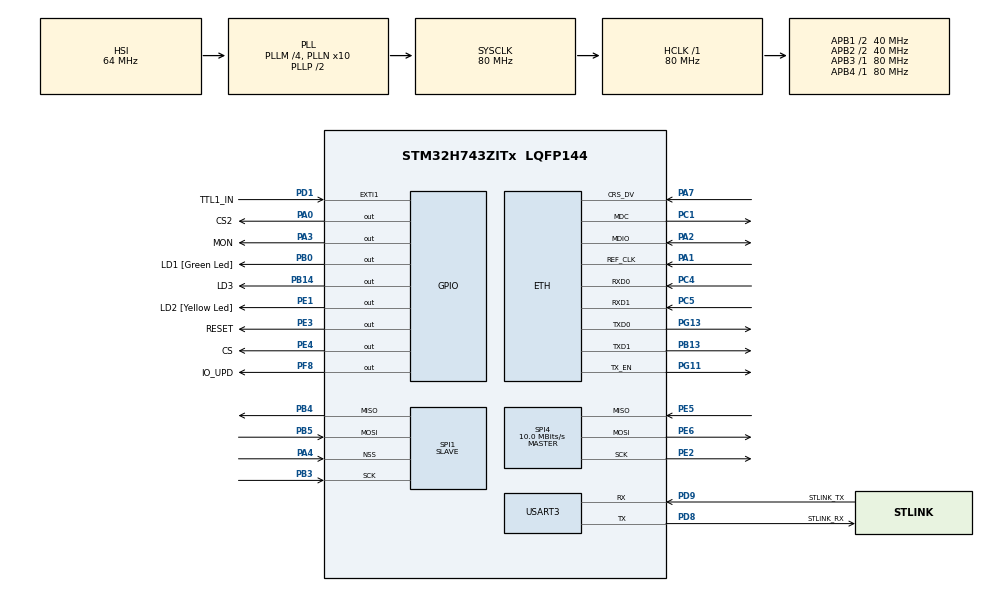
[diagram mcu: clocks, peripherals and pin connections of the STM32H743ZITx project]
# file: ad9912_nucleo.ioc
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CORTEX_M7.AccessPermission-Cortex_Memory_Protection_Unit_Region0_Settings=MPU_REGION_FULL_ACCESS
CORTEX_M7.AccessPermission-Cortex_Memory_Protection_Unit_Region1_Settings=MPU_REGION_FULL_ACCESS
CORTEX_M7.BaseAddress-Cortex_Memory_Protection_Unit_Region0_Settings=0x30040000
CORTEX_M7.BaseAddress-Cortex_Memory_Protection_Unit_Region1_Settings=0x30044000
CORTEX_M7.CPU_DCache=Enabled
CORTEX_M7.CPU_ICache=Enabled
CORTEX_M7.Enable-Cortex_Memory_Protection_Unit_Region0_Settings=MPU_REGION_ENABLE
CORTEX_M7.Enable-Cortex_Memory_Protection_Unit_Region1_Settings=MPU_REGION_ENABLE
CORTEX_M7.IsBufferable-Cortex_Memory_Protection_Unit_Region0_Settings=MPU_ACCESS_BUFFERABLE
CORTEX_M7.IsShareable-Cortex_Memory_Protection_Unit_Region1_Settings=MPU_ACCESS_SHAREABLE
CORTEX_M7.MPU_Control=MPU_PRIVILEGED_DEFAULT
CORTEX_M7.Size-Cortex_Memory_Protection_Unit_Region0_Settings=MPU_REGION_SIZE_256B
CORTEX_M7.Size-Cortex_Memory_Protection_Unit_Region1_Settings=MPU_REGION_SIZE_16KB
CORTEX_M7.TypeExtField-Cortex_Memory_Protection_Unit_Region1_Settings=MPU_TEX_LEVEL1
ETH.MACAddr=02\:00\:00\:03\:01\:08
ETH.MediaInterface=HAL_ETH_RMII_MODE
ETH.RxBuffAddress=0x30040200
LWIP.BSP.number=1
LWIP.GATEWAY_ADDRESS=000.000.000.000
LWIP.IP_ADDRESS=192.168.003.019
LWIP.LWIP_DHCP=1
LWIP.NETMASK_ADDRESS=255.255.255.000
LWIP.Version=v2.1.2_Cube
LWIP0.BSP.STBoard=false
LWIP0.BSP.api=BSP_COMPONENT_DRIVER
LWIP0.BSP.component=LAN8742
LWIP0.BSP.instance=LAN8742
LWIP0.BSP.name=Driver_PHY
LWIP0.BSP.solution=LAN8742
Mcu.Family=STM32H7
Mcu.Name=STM32H743ZITx
Mcu.Package=LQFP144
NVIC.ETH_IRQn=true\:5\:0\:true\:false\:true\:true\:true\:true
NVIC.EXTI1_IRQn=true\:1\:0\:true\:false\:true\:true\:true\:true
NVIC.PriorityGroup=NVIC_PRIORITYGROUP_4
NVIC.SPI1_IRQn=true\:0\:0\:false\:false\:true\:true\:true\:true
NVIC.TIM6_DAC_IRQn=true\:15\:0\:false\:false\:true\:false\:true\:true
NVIC.TIM7_IRQn=true\:0\:0\:false\:false\:true\:true\:true\:true
NVIC.TimeBase=TIM6_DAC_IRQn
NVIC.TimeBaseIP=TIM6
PA0.GPIO_Label=CS2
PA0.PinState=GPIO_PIN_SET
PA0.Signal=GPIO_Output
PA1.GPIO_Speed=GPIO_SPEED_FREQ_HIGH
PA1.Mode=RMII
PA1.Signal=ETH_REF_CLK
PA2.GPIO_Speed=GPIO_SPEED_FREQ_HIGH
PA2.Mode=RMII
PA2.Signal=ETH_MDIO
PA3.GPIO_Label=MON
PA3.Signal=GPIO_Output
PA4.GPIO_PuPd=GPIO_PULLUP
PA4.Mode=NSS_Signal_Hard_Input
PA4.Signal=SPI1_NSS
PA7.GPIO_Speed=GPIO_SPEED_FREQ_HIGH
PA7.Mode=RMII
PA7.Signal=ETH_CRS_DV
PB0.GPIO_Label=LD1 [Green Led]
PB0.GPIO_Speed=GPIO_SPEED_FREQ_VERY_HIGH
PB0.Signal=GPIO_Output
PB13.GPIO_Speed=GPIO_SPEED_FREQ_HIGH
PB13.Mode=RMII
PB13.Signal=ETH_TXD1
PB14.GPIO_Label=LD3
PB14.GPIO_Speed=GPIO_SPEED_FREQ_VERY_HIGH
PB14.Signal=GPIO_Output
PB3\ (JTDO/TRACESWO).Mode=Full_Duplex_Slave
PB3\ (JTDO/TRACESWO).Signal=SPI1_SCK
PB4\ (NJTRST).Mode=Full_Duplex_Slave
PB4\ (NJTRST).Signal=SPI1_MISO
PB5.Mode=Full_Duplex_Slave
PB5.Signal=SPI1_MOSI
PC1.GPIO_Speed=GPIO_SPEED_FREQ_HIGH
PC1.Mode=RMII
PC1.Signal=ETH_MDC
PC4.GPIO_Speed=GPIO_SPEED_FREQ_HIGH
PC4.Mode=RMII
PC4.Signal=ETH_RXD0
PC5.GPIO_Speed=GPIO_SPEED_FREQ_HIGH
PC5.Mode=RMII
PC5.Signal=ETH_RXD1
PD1.GPIO_Label=TTL1_IN
PD1.GPIO_ModeDefaultEXTI=GPIO_MODE_IT_FALLING
PD1.Signal=GPXTI1
PD8.GPIO_Label=STLINK_RX
PD8.GPIO_Speed=GPIO_SPEED_FREQ_HIGH
PD8.Mode=Asynchronous
PD8.Signal=USART3_TX
PD9.GPIO_Label=STLINK_TX
PD9.GPIO_Speed=GPIO_SPEED_FREQ_HIGH
PD9.Mode=Asynchronous
PD9.Signal=USART3_RX
PE1.GPIO_Label=LD2 [Yellow Led]
PE1.GPIO_Speed=GPIO_SPEED_FREQ_VERY_HIGH
PE1.Signal=GPIO_Output
PE2.Mode=Full_Duplex_Master
PE2.Signal=SPI4_SCK
PE3.GPIO_Label=RESET
PE3.Signal=GPIO_Output
PE4.GPIO_Label=CS
PE4.PinState=GPIO_PIN_SET
PE4.Signal=GPIO_Output
PE5.Mode=Full_Duplex_Master
PE5.Signal=SPI4_MISO
PE6.Mode=Full_Duplex_Master
PE6.Signal=SPI4_MOSI
PF8.GPIO_Label=IO_UPD
PF8.Signal=GPIO_Output
PG11.GPIO_Speed=GPIO_SPEED_FREQ_HIGH
PG11.Mode=RMII
PG11.Signal=ETH_TX_EN
PG13.GPIO_Speed=GPIO_SPEED_FREQ_HIGH
PG13.Mode=RMII
PG13.Signal=ETH_TXD0
PH0-OSC_IN\ (PH0).Signal=RCC_OSC_IN
ProjectManager.HeapSize=0x200
ProjectManager.StackSize=0x400
ProjectManager.TargetToolchain=STM32CubeIDE
RCC.ADCFreq_Value=40000000
RCC.APB1Freq_Value=40000000
RCC.APB2Freq_Value=40000000
RCC.APB3Freq_Value=80000000
RCC.APB4Freq_Value=80000000
RCC.CortexFreq_Value=80000000
RCC.D2PPRE1=RCC_APB1_DIV2
RCC.D2PPRE2=RCC_APB2_DIV2
RCC.DIVM1=4
RCC.DIVM2=4
RCC.DIVN1=10
RCC.DIVN2=10
RCC.DIVP2=4
RCC.HCLKFreq_Value=80000000
RCC.HSE_VALUE=8000000
RCC.PLL2FRACN=0
RCC.PLL3FRACN=0
RCC.PLLFRACN=0
RCC.SYSCLKFreq_VALUE=80000000
RCC.SYSCLKSource=RCC_SYSCLKSOURCE_PLLCLK
RCC.USBFreq_Value=80000000
SPI1.Direction=SPI_DIRECTION_2LINES
SPI1.Mode=SPI_MODE_SLAVE
SPI1.VirtualNSS=VM_NSSHARD
SPI1.VirtualType=VM_SLAVE
SPI4.BaudRatePrescaler=SPI_BAUDRATEPRESCALER_4
SPI4.CLKPhase=SPI_PHASE_1EDGE
SPI4.CLKPolarity=SPI_POLARITY_LOW
SPI4.CalculateBaudRate=10.0 MBits/s
SPI4.DataSize=SPI_DATASIZE_8BIT
SPI4.Direction=SPI_DIRECTION_2LINES
SPI4.Mode=SPI_MODE_MASTER
SPI4.VirtualType=VM_MASTER
TIM7.Period=1000
TIM7.Prescaler=79
USART3.VirtualMode-Asynchronous=VM_ASYNC
VP_LWIP_VS_Enabled.Mode=Enabled
VP_SYS_VS_tim6.Mode=TIM6
VP_TIM7_VS_ClockSourceINT.Mode=Enable_Timer
board=NUCLEO-H743ZI2

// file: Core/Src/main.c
/* USER CODE BEGIN Header */
/**
  ******************************************************************************
  * @file           : main.c
  * @brief          : Main program body
  ******************************************************************************
  * @attention
  *
  * Copyright (c) 2022 STMicroelectronics.
  * All rights reserved.
  *
  * This software is licensed under terms that can be found in the LICENSE file
  * in the root directory of this software component.
  * If no LICENSE file comes with this software, it is provided AS-IS.
  *
  ******************************************************************************
  */
/* USER CODE END Header */
#include "main.h"
#include "lwip.h"

/* USER CODE BEGIN Includes */
//#include "lwip/sockets.h"          <----
//#include <string.h>
#include "tcpServerRAW.h"
//#include "tcpClientRAW.h"
#include "interface.h"
//#include <stdio.h>
//#include <stdlib.h>
/* USER CODE END Includes */

/* USER CODE BEGIN PD */
//#define PORT	5015          <----
#define FLASH_PARAM_START_ADDR  ((uint32_t)0x081E0000)  // bank 2, sektor 7
#define FLASH_WORD_SIZE        (32)  // Flash word = 256-bit = 32 bytes
/* USER CODE END PD */

SPI_HandleTypeDef hspi1;
SPI_HandleTypeDef hspi4;

TIM_HandleTypeDef htim7;

UART_HandleTypeDef huart3;

/* USER CODE BEGIN PV */

char uart_bufT[1000];
char get_info[1000];
int get_state = 0;
//char uart_bufR[100];
int uart_buf_len;

char spi_buf[100];
char spi_addr[20];

static uint8_t spi1_rx_buf[8]; // buffer for communication between nucleos
static uint8_t spi1_tx_dummy[8];

const uint16_t READ_Intruction = 0x8000;

const uint16_t Config_Addr = 0x0000;
const uint8_t SDO_Active = 0x18 | 0x81; // 0x81 or 0x01

const uint16_t Read_Buffer_Addr = 0x0004;
const uint8_t Read_Buffer = 0x00 | 0x01;	// read buffered registers instead of currently used
const uint8_t Read_Currently = 0x00;

const uint16_t UPD_Addr = 0x0005;
const uint8_t UPD_Auto = 0x00 | 0x01;	// Automatically Update registers

const uint16_t Power_Addr = 0x0010;
const uint8_t PLL_Bypassed = 0xD0;	// Power of PLL_Multiplier will be down
const uint8_t PLL_Enabled = 0xC0;	// Power of PLL_Multiplier will be up

const uint16_t N_divider_Addr = 0x0020;
uint8_t N_Divider = 0x03;	// range 0x00 to 0x1F (0 to 31) + 2 = 2 to 33. def. is 0x12 (18) + 2 = 20 (x 2) = 40 (sysclk = 25 MHz) = 1 GHz

const uint16_t FTW_Addr6 = 0x01A6;
const uint16_t FTW_Addr7 = 0x01A7;
const uint16_t FTW_Addr8 = 0x01A8;
const uint16_t FTW_Addr9 = 0x01A9;
const uint16_t FTW_AddrA = 0x01AA;
const uint16_t FTW_AddrB = 0x01AB;
double f_s = 1000.0;	// MHz of sysclk
double f_DDS = 0.0;	// MHz of initial frequency
double f_ref = 100.0;	// MHz of reference frequency
double last_f = 0;
double last_cur = 0;
double last_spi_master = 0;

const uint16_t DAC_Current_AddrB = 0x040B;
const uint16_t DAC_Current_AddrC = 0x040C;
const double I_DAC_REF = 0.120;	// mA if R_DAC_REF = 10 k[ohm]
const double I_DAC_FS = 10.0;	// mA in output

void Flash_Write_Params(uint32_t address, parameters *data) {
  HAL_FLASH_Unlock();  // Odblokowanie pamięci flash

  FLASH_EraseInitTypeDef eraseInitStruct;
  uint32_t sectorError;

  // Kasowanie sektora przed zapisem
  eraseInitStruct.TypeErase    = FLASH_TYPEERASE_SECTORS;
  eraseInitStruct.Banks        = FLASH_BANK_2;  // **Bank 2**
  eraseInitStruct.Sector       = FLASH_SECTOR_7;  // **Sektor 7**
  eraseInitStruct.NbSectors    = 1;
  eraseInitStruct.VoltageRange = FLASH_VOLTAGE_RANGE_3;

  if (HAL_FLASHEx_Erase(&eraseInitStruct, &sectorError) != HAL_OK) {
      HAL_FLASH_Lock();
      return;  // Błąd kasowania
  }

  uint64_t *data_ptr = (uint64_t*)data;
  uint64_t flash_word[4];
  for (uint32_t i = 0; i < sizeof(parameters) / 8; i += 4) {
      flash_word[0] = (i < sizeof(parameters) / 8) ? data_ptr[i] : 0xFFFFFFFFFFFFFFFF;
      flash_word[1] = (i + 1 < sizeof(parameters) / 8) ? data_ptr[i + 1] : 0xFFFFFFFFFFFFFFFF;
      flash_word[2] = (i + 2 < sizeof(parameters) / 8) ? data_ptr[i + 2] : 0xFFFFFFFFFFFFFFFF;
      flash_word[3] = (i + 3 < sizeof(parameters) / 8) ? data_ptr[i + 3] : 0xFFFFFFFFFFFFFFFF;

      if (HAL_FLASH_Program(FLASH_TYPEPROGRAM_FLASHWORD, address + i * 8, (uint64_t)flash_word) != HAL_OK) {
          HAL_FLASH_Lock();
          return;  // Błąd zapisu
      }
  }

  HAL_FLASH_Lock();  // Zablokowanie pamięci flash
}

void Flash_Read_Params(uint32_t address, parameters *data) {
  memcpy(data, (void*)address, sizeof(parameters));  // Odczytaj całą strukturę
}

uint32_t Flash_Read_Version(uint32_t address) {
  return *(volatile double*)address;  // Odczytaj pierwsze 4 bajty
}

/* USER CODE END PV */

void SystemClock_Config(void);
static void MPU_Config(void);
static void MX_GPIO_Init(void);
static void MX_USART3_UART_Init(void);
static void MX_TIM7_Init(void);
static void MX_SPI4_Init(void);
static void MX_SPI1_Init(void);
/* USER CODE BEGIN PFP */

void send_freq(double fdds);
void send_ftw(uint64_t ftw);
void send_current(double idac);
void set_ref(double ref);
double get_freq(void);

HAL_StatusTypeDef SPI1_ReconfigureFromPar(void);
HAL_StatusTypeDef SPI1_SendDouble(double value);

/* USER CODE END PFP */

/* USER CODE BEGIN 0 */

extern struct netif gnetif;
extern parameters par;
int32_t raw;
/* USER CODE END 0 */

int main(void)
{

  /* MPU Configuration--------------------------------------------------------*/
  MPU_Config();

  /* Enable I-Cache---------------------------------------------------------*/
  SCB_EnableICache();

  /* Enable D-Cache---------------------------------------------------------*/
  SCB_EnableDCache();

  /* MCU Configuration--------------------------------------------------------*/

  /* Reset of all peripherals, Initializes the Flash interface and the Systick. */
  HAL_Init();

  /* Configure the system clock */
  SystemClock_Config();

  /* Initialize all configured peripherals */
  MX_GPIO_Init();
  MX_USART3_UART_Init();
  MX_LWIP_Init();
  MX_TIM7_Init();
  MX_SPI4_Init();
  MX_SPI1_Init();
  /* USER CODE BEGIN 2 */

  //tcp_client_init();
  tcp_server_init();
  initInterface();

  // read par from flash
  if (par.version != Flash_Read_Version(FLASH_PARAM_START_ADDR)){
    Flash_Write_Params(FLASH_PARAM_START_ADDR, &par);
  }
  else{
    Flash_Read_Params(FLASH_PARAM_START_ADDR, &par);
  }

  set_ref(100.0);
  send_freq(par.f.val);
  send_current(par.cur.val);
  par.rf.val = get_freq();

  HAL_TIM_Base_Start_IT(&htim7);

  // par.spi.on.val = 1.0;
  SPI1_ReconfigureFromPar();
  // par.spi.on.val = 0.0;
  /* USER CODE END 2 */

  /* Infinite loop */
  while (1)
  {

    /* USER CODE BEGIN 3 */
	  ethernetif_input(&gnetif);
	  sys_check_timeouts();
    if (par.save.val == 1){
      par.save.val = 0;
      Flash_Write_Params(FLASH_PARAM_START_ADDR, &par);
    }
    if (par.load.val == 1){
      par.load.val = 0;
      Flash_Read_Params(FLASH_PARAM_START_ADDR, &par);
    }

	}
  /* USER CODE END 3 */
}

void SystemClock_Config(void)
{
  RCC_OscInitTypeDef RCC_OscInitStruct = {0};
  RCC_ClkInitTypeDef RCC_ClkInitStruct = {0};

  /** Supply configuration update enable
  */
  HAL_PWREx_ConfigSupply(PWR_LDO_SUPPLY);
  /** Configure the main internal regulator output voltage
  */
  __HAL_PWR_VOLTAGESCALING_CONFIG(PWR_REGULATOR_VOLTAGE_SCALE3);

  while(!__HAL_PWR_GET_FLAG(PWR_FLAG_VOSRDY)) {}
  /** Initializes the RCC Oscillators according to the specified parameters
  * in the RCC_OscInitTypeDef structure.
  */
  RCC_OscInitStruct.OscillatorType = RCC_OSCILLATORTYPE_HSI;
  RCC_OscInitStruct.HSIState = RCC_HSI_DIV1;
  RCC_OscInitStruct.HSICalibrationValue = RCC_HSICALIBRATION_DEFAULT;
  RCC_OscInitStruct.PLL.PLLState = RCC_PLL_ON;
  RCC_OscInitStruct.PLL.PLLSource = RCC_PLLSOURCE_HSI;
  RCC_OscInitStruct.PLL.PLLM = 4;
  RCC_OscInitStruct.PLL.PLLN = 10;
  RCC_OscInitStruct.PLL.PLLP = 2;
  RCC_OscInitStruct.PLL.PLLQ = 2;
  RCC_OscInitStruct.PLL.PLLR = 2;
  RCC_OscInitStruct.PLL.PLLRGE = RCC_PLL1VCIRANGE_3;
  RCC_OscInitStruct.PLL.PLLVCOSEL = RCC_PLL1VCOMEDIUM;
  RCC_OscInitStruct.PLL.PLLFRACN = 0;
  if (HAL_RCC_OscConfig(&RCC_OscInitStruct) != HAL_OK)
  {
    Error_Handler();
  }
  /** Initializes the CPU, AHB and APB buses clocks
  */
  RCC_ClkInitStruct.ClockType = RCC_CLOCKTYPE_HCLK|RCC_CLOCKTYPE_SYSCLK
                              |RCC_CLOCKTYPE_PCLK1|RCC_CLOCKTYPE_PCLK2
                              |RCC_CLOCKTYPE_D3PCLK1|RCC_CLOCKTYPE_D1PCLK1;
  RCC_ClkInitStruct.SYSCLKSource = RCC_SYSCLKSOURCE_PLLCLK;
  RCC_ClkInitStruct.SYSCLKDivider = RCC_SYSCLK_DIV1;
  RCC_ClkInitStruct.AHBCLKDivider = RCC_HCLK_DIV1;
  RCC_ClkInitStruct.APB3CLKDivider = RCC_APB3_DIV1;
  RCC_ClkInitStruct.APB1CLKDivider = RCC_APB1_DIV2;
  RCC_ClkInitStruct.APB2CLKDivider = RCC_APB2_DIV2;
  RCC_ClkInitStruct.APB4CLKDivider = RCC_APB4_DIV1;

  if (HAL_RCC_ClockConfig(&RCC_ClkInitStruct, FLASH_LATENCY_1) != HAL_OK)
  {
    Error_Handler();
  }
}

static void MX_SPI1_Init(void)
{

  /* SPI1 parameter configuration*/
  hspi1.Instance = SPI1;
  hspi1.Init.Mode = SPI_MODE_SLAVE;
  hspi1.Init.Direction = SPI_DIRECTION_2LINES;
  hspi1.Init.DataSize = SPI_DATASIZE_4BIT;
  hspi1.Init.CLKPolarity = SPI_POLARITY_LOW;
  hspi1.Init.CLKPhase = SPI_PHASE_1EDGE;
  hspi1.Init.NSS = SPI_NSS_HARD_INPUT;
  hspi1.Init.FirstBit = SPI_FIRSTBIT_MSB;
  hspi1.Init.TIMode = SPI_TIMODE_DISABLE;
  hspi1.Init.CRCCalculation = SPI_CRCCALCULATION_DISABLE;
  hspi1.Init.CRCPolynomial = 0x0;
  hspi1.Init.NSSPMode = SPI_NSS_PULSE_DISABLE;
  hspi1.Init.NSSPolarity = SPI_NSS_POLARITY_LOW;
  hspi1.Init.FifoThreshold = SPI_FIFO_THRESHOLD_01DATA;
  hspi1.Init.TxCRCInitializationPattern = SPI_CRC_INITIALIZATION_ALL_ZERO_PATTERN;
  hspi1.Init.RxCRCInitializationPattern = SPI_CRC_INITIALIZATION_ALL_ZERO_PATTERN;
  hspi1.Init.MasterSSIdleness = SPI_MASTER_SS_IDLENESS_00CYCLE;
  hspi1.Init.MasterInterDataIdleness = SPI_MASTER_INTERDATA_IDLENESS_00CYCLE;
  hspi1.Init.MasterReceiverAutoSusp = SPI_MASTER_RX_AUTOSUSP_DISABLE;
  hspi1.Init.MasterKeepIOState = SPI_MASTER_KEEP_IO_STATE_DISABLE;
  hspi1.Init.IOSwap = SPI_IO_SWAP_DISABLE;
  if (HAL_SPI_Init(&hspi1) != HAL_OK)
  {
    Error_Handler();
  }

}

static void MX_SPI4_Init(void)
{

  /* SPI4 parameter configuration*/
  hspi4.Instance = SPI4;
  hspi4.Init.Mode = SPI_MODE_MASTER;
  hspi4.Init.Direction = SPI_DIRECTION_2LINES;
  hspi4.Init.DataSize = SPI_DATASIZE_8BIT;
  hspi4.Init.CLKPolarity = SPI_POLARITY_LOW;
  hspi4.Init.CLKPhase = SPI_PHASE_1EDGE;
  hspi4.Init.NSS = SPI_NSS_SOFT;
  hspi4.Init.BaudRatePrescaler = SPI_BAUDRATEPRESCALER_4;
  hspi4.Init.FirstBit = SPI_FIRSTBIT_MSB;
  hspi4.Init.TIMode = SPI_TIMODE_DISABLE;
  hspi4.Init.CRCCalculation = SPI_CRCCALCULATION_DISABLE;
  hspi4.Init.CRCPolynomial = 0x0;
  hspi4.Init.NSSPMode = SPI_NSS_PULSE_ENABLE;
  hspi4.Init.NSSPolarity = SPI_NSS_POLARITY_LOW;
  hspi4.Init.FifoThreshold = SPI_FIFO_THRESHOLD_01DATA;
  hspi4.Init.TxCRCInitializationPattern = SPI_CRC_INITIALIZATION_ALL_ZERO_PATTERN;
  hspi4.Init.RxCRCInitializationPattern = SPI_CRC_INITIALIZATION_ALL_ZERO_PATTERN;
  hspi4.Init.MasterSSIdleness = SPI_MASTER_SS_IDLENESS_00CYCLE;
  hspi4.Init.MasterInterDataIdleness = SPI_MASTER_INTERDATA_IDLENESS_00CYCLE;
  hspi4.Init.MasterReceiverAutoSusp = SPI_MASTER_RX_AUTOSUSP_DISABLE;
  hspi4.Init.MasterKeepIOState = SPI_MASTER_KEEP_IO_STATE_DISABLE;
  hspi4.Init.IOSwap = SPI_IO_SWAP_DISABLE;
  if (HAL_SPI_Init(&hspi4) != HAL_OK)
  {
    Error_Handler();
  }

}

static void MX_TIM7_Init(void)
{

  TIM_MasterConfigTypeDef sMasterConfig = {0};

  htim7.Instance = TIM7;
  htim7.Init.Prescaler = 79;
  htim7.Init.CounterMode = TIM_COUNTERMODE_UP;
  htim7.Init.Period = 1000;
  htim7.Init.AutoReloadPreload = TIM_AUTORELOAD_PRELOAD_DISABLE;
  if (HAL_TIM_Base_Init(&htim7) != HAL_OK)
  {
    Error_Handler();
  }
  sMasterConfig.MasterOutputTrigger = TIM_TRGO_RESET;
  sMasterConfig.MasterSlaveMode = TIM_MASTERSLAVEMODE_DISABLE;
  if (HAL_TIMEx_MasterConfigSynchronization(&htim7, &sMasterConfig) != HAL_OK)
  {
    Error_Handler();
  }

}

static void MX_USART3_UART_Init(void)
{

  huart3.Instance = USART3;
  huart3.Init.BaudRate = 115200;
  huart3.Init.WordLength = UART_WORDLENGTH_8B;
  huart3.Init.StopBits = UART_STOPBITS_1;
  huart3.Init.Parity = UART_PARITY_NONE;
  huart3.Init.Mode = UART_MODE_TX_RX;
  huart3.Init.HwFlowCtl = UART_HWCONTROL_NONE;
  huart3.Init.OverSampling = UART_OVERSAMPLING_16;
  huart3.Init.OneBitSampling = UART_ONE_BIT_SAMPLE_DISABLE;
  huart3.Init.ClockPrescaler = UART_PRESCALER_DIV1;
  huart3.AdvancedInit.AdvFeatureInit = UART_ADVFEATURE_NO_INIT;
  if (HAL_UART_Init(&huart3) != HAL_OK)
  {
    Error_Handler();
  }
  if (HAL_UARTEx_SetTxFifoThreshold(&huart3, UART_TXFIFO_THRESHOLD_1_8) != HAL_OK)
  {
    Error_Handler();
  }
  if (HAL_UARTEx_SetRxFifoThreshold(&huart3, UART_RXFIFO_THRESHOLD_1_8) != HAL_OK)
  {
    Error_Handler();
  }
  if (HAL_UARTEx_DisableFifoMode(&huart3) != HAL_OK)
  {
    Error_Handler();
  }

}

static void MX_GPIO_Init(void)
{
  GPIO_InitTypeDef GPIO_InitStruct = {0};

  /* GPIO Ports Clock Enable */
  __HAL_RCC_GPIOE_CLK_ENABLE();
  __HAL_RCC_GPIOF_CLK_ENABLE();
  __HAL_RCC_GPIOH_CLK_ENABLE();
  __HAL_RCC_GPIOC_CLK_ENABLE();
  __HAL_RCC_GPIOA_CLK_ENABLE();
  __HAL_RCC_GPIOB_CLK_ENABLE();
  __HAL_RCC_GPIOD_CLK_ENABLE();
  __HAL_RCC_GPIOG_CLK_ENABLE();

  /*Configure GPIO pin Output Level */
  HAL_GPIO_WritePin(GPIOE, RESET_Pin|LD2_Pin, GPIO_PIN_RESET);

  /*Configure GPIO pin Output Level */
  HAL_GPIO_WritePin(CS_GPIO_Port, CS_Pin, GPIO_PIN_SET);

  /*Configure GPIO pin Output Level */
  HAL_GPIO_WritePin(IO_UPD_GPIO_Port, IO_UPD_Pin, GPIO_PIN_RESET);

  /*Configure GPIO pin Output Level */
  HAL_GPIO_WritePin(CS2_GPIO_Port, CS2_Pin, GPIO_PIN_SET);

  /*Configure GPIO pin Output Level */
  HAL_GPIO_WritePin(MON_GPIO_Port, MON_Pin, GPIO_PIN_RESET);

  /*Configure GPIO pin Output Level */
  HAL_GPIO_WritePin(GPIOB, LD1_Pin|LD3_Pin, GPIO_PIN_RESET);

  /*Configure GPIO pins : RESET_Pin CS_Pin */
  GPIO_InitStruct.Pin = RESET_Pin|CS_Pin;
  GPIO_InitStruct.Mode = GPIO_MODE_OUTPUT_PP;
  GPIO_InitStruct.Pull = GPIO_NOPULL;
  GPIO_InitStruct.Speed = GPIO_SPEED_FREQ_LOW;
  HAL_GPIO_Init(GPIOE, &GPIO_InitStruct);

  /*Configure GPIO pin : IO_UPD_Pin */
  GPIO_InitStruct.Pin = IO_UPD_Pin;
  GPIO_InitStruct.Mode = GPIO_MODE_OUTPUT_PP;
  GPIO_InitStruct.Pull = GPIO_NOPULL;
  GPIO_InitStruct.Speed = GPIO_SPEED_FREQ_LOW;
  HAL_GPIO_Init(IO_UPD_GPIO_Port, &GPIO_InitStruct);

  /*Configure GPIO pins : CS2_Pin MON_Pin */
  GPIO_InitStruct.Pin = CS2_Pin|MON_Pin;
  GPIO_InitStruct.Mode = GPIO_MODE_OUTPUT_PP;
  GPIO_InitStruct.Pull = GPIO_NOPULL;
  GPIO_InitStruct.Speed = GPIO_SPEED_FREQ_LOW;
  HAL_GPIO_Init(GPIOA, &GPIO_InitStruct);

  /*Configure GPIO pins : LD1_Pin LD3_Pin */
  GPIO_InitStruct.Pin = LD1_Pin|LD3_Pin;
  GPIO_InitStruct.Mode = GPIO_MODE_OUTPUT_PP;
  GPIO_InitStruct.Pull = GPIO_NOPULL;
  GPIO_InitStruct.Speed = GPIO_SPEED_FREQ_VERY_HIGH;
  HAL_GPIO_Init(GPIOB, &GPIO_InitStruct);

  /*Configure GPIO pin : TTL1_IN_Pin */
  GPIO_InitStruct.Pin = TTL1_IN_Pin;
  GPIO_InitStruct.Mode = GPIO_MODE_IT_FALLING;
  GPIO_InitStruct.Pull = GPIO_NOPULL;
  HAL_GPIO_Init(TTL1_IN_GPIO_Port, &GPIO_InitStruct);

  /*Configure GPIO pin : LD2_Pin */
  GPIO_InitStruct.Pin = LD2_Pin;
  GPIO_InitStruct.Mode = GPIO_MODE_OUTPUT_PP;
  GPIO_InitStruct.Pull = GPIO_NOPULL;
  GPIO_InitStruct.Speed = GPIO_SPEED_FREQ_VERY_HIGH;
  HAL_GPIO_Init(LD2_GPIO_Port, &GPIO_InitStruct);

  /* EXTI interrupt init*/
  HAL_NVIC_SetPriority(EXTI1_IRQn, 1, 0);
  HAL_NVIC_EnableIRQ(EXTI1_IRQn);

}

/* USER CODE BEGIN 4 */

void send_ftw(uint64_t ftw){
	uint8_t value;

	par.ftw.val = (double)ftw;

	spi_addr[0] = ((uint8_t*)&FTW_Addr6)[1];
	spi_addr[1] = ((uint8_t*)&FTW_Addr6)[0];
	HAL_GPIO_WritePin(CS_GPIO_Port, CS_Pin, GPIO_PIN_RESET);
	HAL_SPI_Transmit(&hspi4, (uint8_t *)&spi_addr, 2, 100);
	value = ((uint8_t *)&ftw)[0];
	HAL_SPI_Transmit(&hspi4, ((uint8_t *)&value), 1, 100);

	spi_addr[0] = ((uint8_t*)&FTW_Addr7)[1];
	spi_addr[1] = ((uint8_t*)&FTW_Addr7)[0];
	HAL_SPI_Transmit(&hspi4, (uint8_t *)&spi_addr, 2, 100);
	value = ((uint8_t *)&ftw)[1];
	HAL_SPI_Transmit(&hspi4, ((uint8_t *)&value), 1, 100);

	spi_addr[0] = ((uint8_t*)&FTW_Addr8)[1];
	spi_addr[1] = ((uint8_t*)&FTW_Addr8)[0];
	HAL_SPI_Transmit(&hspi4, (uint8_t *)&spi_addr, 2, 100);
	value = ((uint8_t *)&ftw)[2];
	HAL_SPI_Transmit(&hspi4, ((uint8_t *)&value), 1, 100);

	spi_addr[0] = ((uint8_t*)&FTW_Addr9)[1];
	spi_addr[1] = ((uint8_t*)&FTW_Addr9)[0];
	HAL_SPI_Transmit(&hspi4, (uint8_t *)&spi_addr, 2, 100);
	value = ((uint8_t *)&ftw)[3];
	HAL_SPI_Transmit(&hspi4, ((uint8_t *)&value), 1, 100);

	spi_addr[0] = ((uint8_t*)&FTW_AddrA)[1];
	spi_addr[1] = ((uint8_t*)&FTW_AddrA)[0];
	HAL_SPI_Transmit(&hspi4, (uint8_t *)&spi_addr, 2, 100);
	value = ((uint8_t *)&ftw)[4];
	HAL_SPI_Transmit(&hspi4, ((uint8_t *)&value), 1, 100);

	spi_addr[0] = ((uint8_t*)&FTW_AddrB)[1];
	spi_addr[1] = ((uint8_t*)&FTW_AddrB)[0];
	HAL_SPI_Transmit(&hspi4, (uint8_t *)&spi_addr, 2, 100);
	value = ((uint8_t *)&ftw)[5];
	HAL_SPI_Transmit(&hspi4, ((uint8_t *)&value), 1, 100);
	HAL_GPIO_WritePin(CS_GPIO_Port, CS_Pin, GPIO_PIN_SET);

	// Update registers
	HAL_GPIO_WritePin(IO_UPD_GPIO_Port, IO_UPD_Pin, GPIO_PIN_SET);
	HAL_GPIO_WritePin(IO_UPD_GPIO_Port, IO_UPD_Pin, GPIO_PIN_RESET);

}

void send_freq(double fdds)
{
	uint64_t ftw;
	uint8_t value;

	if(fdds > 400.0){
		fdds = 400.0;
	}

	ftw = round((fdds/f_s) * pow(2, 48));
//	par.ftw.val = ftw;

	spi_addr[0] = ((uint8_t*)&FTW_Addr6)[1];
	spi_addr[1] = ((uint8_t*)&FTW_Addr6)[0];
	HAL_GPIO_WritePin(CS_GPIO_Port, CS_Pin, GPIO_PIN_RESET);
	HAL_SPI_Transmit(&hspi4, (uint8_t *)&spi_addr, 2, 100);
	value = ((uint8_t *)&ftw)[0];
	HAL_SPI_Transmit(&hspi4, ((uint8_t *)&value), 1, 100);

	spi_addr[0] = ((uint8_t*)&FTW_Addr7)[1];
	spi_addr[1] = ((uint8_t*)&FTW_Addr7)[0];
	HAL_SPI_Transmit(&hspi4, (uint8_t *)&spi_addr, 2, 100);
	value = ((uint8_t *)&ftw)[1];
	HAL_SPI_Transmit(&hspi4, ((uint8_t *)&value), 1, 100);

	spi_addr[0] = ((uint8_t*)&FTW_Addr8)[1];
	spi_addr[1] = ((uint8_t*)&FTW_Addr8)[0];
	HAL_SPI_Transmit(&hspi4, (uint8_t *)&spi_addr, 2, 100);
	value = ((uint8_t *)&ftw)[2];
	HAL_SPI_Transmit(&hspi4, ((uint8_t *)&value), 1, 100);

	spi_addr[0] = ((uint8_t*)&FTW_Addr9)[1];
	spi_addr[1] = ((uint8_t*)&FTW_Addr9)[0];
	HAL_SPI_Transmit(&hspi4, (uint8_t *)&spi_addr, 2, 100);
	value = ((uint8_t *)&ftw)[3];
	HAL_SPI_Transmit(&hspi4, ((uint8_t *)&value), 1, 100);

	spi_addr[0] = ((uint8_t*)&FTW_AddrA)[1];
	spi_addr[1] = ((uint8_t*)&FTW_AddrA)[0];
	HAL_SPI_Transmit(&hspi4, (uint8_t *)&spi_addr, 2, 100);
	value = ((uint8_t *)&ftw)[4];
	HAL_SPI_Transmit(&hspi4, ((uint8_t *)&value), 1, 100);

	spi_addr[0] = ((uint8_t*)&FTW_AddrB)[1];
	spi_addr[1] = ((uint8_t*)&FTW_AddrB)[0];
	HAL_SPI_Transmit(&hspi4, (uint8_t *)&spi_addr, 2, 100);
	value = ((uint8_t *)&ftw)[5];
	HAL_SPI_Transmit(&hspi4, ((uint8_t *)&value), 1, 100);
	HAL_GPIO_WritePin(CS_GPIO_Port, CS_Pin, GPIO_PIN_SET);

	// Update registers
	HAL_GPIO_WritePin(IO_UPD_GPIO_Port, IO_UPD_Pin, GPIO_PIN_SET);
//	HAL_Delay(1);
	HAL_GPIO_WritePin(IO_UPD_GPIO_Port, IO_UPD_Pin, GPIO_PIN_RESET);
}

void send_current(double idac)
{
	uint16_t fsc;
	uint8_t value;

	if(idac < 8.6){

		idac = 8.6;
	}else if(idac > 31.7){

		idac = 31.7;
	}

	fsc = round(1024/192 * (idac/I_DAC_REF - 72));

	spi_addr[0] = ((uint8_t*)&DAC_Current_AddrB)[1];
	spi_addr[1] = ((uint8_t*)&DAC_Current_AddrB)[0];
	HAL_GPIO_WritePin(CS_GPIO_Port, CS_Pin, GPIO_PIN_RESET);
	HAL_SPI_Transmit(&hspi4, (uint8_t *)&spi_addr, 2, 100);
	value = ((uint8_t *)&fsc)[0];
	HAL_SPI_Transmit(&hspi4, ((uint8_t *)&value), 1, 100);

	spi_addr[0] = ((uint8_t*)&DAC_Current_AddrC)[1];
	spi_addr[1] = ((uint8_t*)&DAC_Current_AddrC)[0];
	HAL_SPI_Transmit(&hspi4, (uint8_t *)&spi_addr, 2, 100);
	value = ((uint8_t *)&fsc)[1];
	HAL_SPI_Transmit(&hspi4, ((uint8_t *)&value), 1, 100);
}

void set_ref(double ref)
{
	f_ref = ref;

	spi_addr[0] = ((uint8_t*)&Power_Addr)[1];
	spi_addr[1] = ((uint8_t*)&Power_Addr)[0];

	if(ref == 100.0){

		f_s = 1000.0;

		HAL_GPIO_WritePin(CS_GPIO_Port, CS_Pin, GPIO_PIN_RESET);
		HAL_SPI_Transmit(&hspi4, (uint8_t*)&spi_addr, 2, 100);
		HAL_SPI_Transmit(&hspi4, (uint8_t*)&PLL_Enabled, 1, 100);
		HAL_GPIO_WritePin(CS_GPIO_Port, CS_Pin, GPIO_PIN_SET);

//		// set N-divider for PLL
		spi_addr[0] = ((uint8_t*)&N_divider_Addr)[1];
		spi_addr[1] = ((uint8_t*)&N_divider_Addr)[0];
		HAL_GPIO_WritePin(CS_GPIO_Port, CS_Pin, GPIO_PIN_RESET);
		HAL_SPI_Transmit(&hspi4, (uint8_t*)&spi_addr, 2, 100);
		HAL_SPI_Transmit(&hspi4, (uint8_t*)&N_Divider, 1, 100);
		HAL_GPIO_WritePin(CS_GPIO_Port, CS_Pin, GPIO_PIN_SET);

	}else if(ref == 250.0 || ref == 1000.0){

		f_s = ref;

		HAL_GPIO_WritePin(CS_GPIO_Port, CS_Pin, GPIO_PIN_RESET);
		HAL_SPI_Transmit(&hspi4, (uint8_t*)&spi_addr, 2, 100);
		HAL_SPI_Transmit(&hspi4, (uint8_t*)&PLL_Bypassed, 1, 100);
		HAL_GPIO_WritePin(CS_GPIO_Port, CS_Pin, GPIO_PIN_SET);

		send_freq(f_DDS);
	}
}

double get_freq(){

	uint16_t address;
	uint64_t ftw = 0x0;
	double fDDS = 0;

	// read freq. value
	address = READ_Intruction | FTW_Addr6;
	spi_addr[0] = ((uint8_t*)&address)[1];
	spi_addr[1] = ((uint8_t*)&address)[0];
	HAL_GPIO_WritePin(CS_GPIO_Port, CS_Pin, GPIO_PIN_RESET);
	HAL_SPI_Transmit(&hspi4, (uint8_t*)&spi_addr, 2, 100);
	HAL_SPI_Receive(&hspi4, (uint8_t*)spi_buf, 1, 100);
	((uint8_t *)&ftw)[0] = (unsigned int)spi_buf[0];
	address = READ_Intruction | FTW_Addr7;
	spi_addr[0] = ((uint8_t*)&address)[1];
	spi_addr[1] = ((uint8_t*)&address)[0];
	HAL_SPI_Transmit(&hspi4, (uint8_t*)&spi_addr, 2, 100);
	HAL_SPI_Receive(&hspi4, (uint8_t*)spi_buf, 1, 100);
	((uint8_t *)&ftw)[1] = (unsigned int)spi_buf[0];
	address = READ_Intruction | FTW_Addr8;
	spi_addr[0] = ((uint8_t*)&address)[1];
	spi_addr[1] = ((uint8_t*)&address)[0];
	HAL_SPI_Transmit(&hspi4, (uint8_t*)&spi_addr, 2, 100);
	HAL_SPI_Receive(&hspi4, (uint8_t*)spi_buf, 1, 100);
	((uint8_t *)&ftw)[2] = (unsigned int)spi_buf[0];
	address = READ_Intruction | FTW_Addr9;
	spi_addr[0] = ((uint8_t*)&address)[1];
	spi_addr[1] = ((uint8_t*)&address)[0];
	HAL_SPI_Transmit(&hspi4, (uint8_t*)&spi_addr, 2, 100);
	HAL_SPI_Receive(&hspi4, (uint8_t*)spi_buf, 1, 100);
	((uint8_t *)&ftw)[3] = (unsigned int)spi_buf[0];
	address = READ_Intruction | FTW_AddrA;
	spi_addr[0] = ((uint8_t*)&address)[1];
	spi_addr[1] = ((uint8_t*)&address)[0];
	HAL_SPI_Transmit(&hspi4, (uint8_t*)&spi_addr, 2, 100);
	HAL_SPI_Receive(&hspi4, (uint8_t*)spi_buf, 1, 100);
	((uint8_t *)&ftw)[4] = (unsigned int)spi_buf[0];
	address = READ_Intruction | FTW_AddrB;
	spi_addr[0] = ((uint8_t*)&address)[1];
	spi_addr[1] = ((uint8_t*)&address)[0];
	HAL_SPI_Transmit(&hspi4, (uint8_t*)&spi_addr, 2, 100);
	HAL_SPI_Receive(&hspi4, (uint8_t*)spi_buf, 1, 100);
	((uint8_t *)&ftw)[5] = (unsigned int)spi_buf[0];
	HAL_GPIO_WritePin(CS_GPIO_Port, CS_Pin, GPIO_PIN_SET);

	par.rftw.val = (double)ftw;
	fDDS = (ftw/pow(2, 48)) * f_s;

	get_state = 1;
	return fDDS;
}

static inline void SPI1_FlushAndClear(void)
{
  // delete OVR flag
  __HAL_SPI_CLEAR_OVRFLAG(&hspi1);

  // empty RX FIFO
  while (__HAL_SPI_GET_FLAG(&hspi1, SPI_FLAG_RXP)) { // RXP = "RX data available"
    volatile uint8_t dump = (uint8_t)(hspi1.Instance->RXDR);
    (void)dump;
  }
}

// save buffers for SPI1 SLAVE TRx-IT
static inline HAL_StatusTypeDef SPI1_SlaveArm_TRx_IT(void)
{
  SPI1_FlushAndClear();

  // send 8 bytes of dummy data
  memset(spi1_tx_dummy, 0, sizeof(spi1_tx_dummy));
  return HAL_SPI_TransmitReceive_IT(&hspi1, spi1_tx_dummy, spi1_rx_buf, sizeof(spi1_rx_buf));
}

// === CALLBACKs HAL ===

// end of transmit-receive in SLAVE mode
void HAL_SPI_TxRxCpltCallback(SPI_HandleTypeDef *hspi)
{
  if (hspi->Instance == SPI1) {
    double v;
    memcpy(&v, spi1_rx_buf, 8);
    par.spi.rcv.val = v;

    if (par.spi.use.val >= 0.5) {
      par.f.val = (v + par.spi.offsin.val)*par.spi.gain.val + par.spi.offsout.val;
    }

    // prepare for next TRx IT
    SPI1_SlaveArm_TRx_IT();
  }
}

// (just in case, leave also RxCplt; it won't hurt)
void HAL_SPI_RxCpltCallback(SPI_HandleTypeDef *hspi)
{
  if (hspi->Instance == SPI1) {
    double v;
    memcpy(&v, spi1_rx_buf, 8);
    par.spi.rcv.val = v;
    if (par.spi.use.val >= 0.5) {
      par.f.val = (v + par.spi.offsin.val)*par.spi.gain.val + par.spi.offsout.val;
    }
    SPI1_SlaveArm_TRx_IT();
  }
}

// Error callback
void HAL_SPI_ErrorCallback(SPI_HandleTypeDef *hspi)
{
  if (hspi->Instance == SPI1) {
    HAL_SPI_Abort(hspi);
    SPI1_FlushAndClear();
    if (par.spi.master.val < 0.5) {   // if SLAVE
      SPI1_SlaveArm_TRx_IT();
    }
  }
}

/**
 * @brief  soft reconfigure SPI1 according to 'par.spi' settings.
 */
HAL_StatusTypeDef SPI1_ReconfigureFromPar(void)
{
  double spi_on_tmp = par.spi.on.val;
  par.spi.on.val = 0;

  HAL_SPI_Abort(&hspi1);
  HAL_SPI_DeInit(&hspi1);

  // Wspólne ustawienia
  hspi1.Instance               = SPI1;
  hspi1.Init.Direction         = SPI_DIRECTION_2LINES;
  hspi1.Init.DataSize          = SPI_DATASIZE_8BIT;
  hspi1.Init.CLKPolarity       = SPI_POLARITY_LOW;      // CPOL=0
  hspi1.Init.CLKPhase          = SPI_PHASE_1EDGE;       // CPHA=1 (Mode 0)
  hspi1.Init.FirstBit          = SPI_FIRSTBIT_MSB;
  hspi1.Init.TIMode            = SPI_TIMODE_DISABLE;
  hspi1.Init.CRCCalculation    = SPI_CRCCALCULATION_DISABLE;
  hspi1.Init.CRCPolynomial     = 0x0;
  hspi1.Init.NSSPMode          = SPI_NSS_PULSE_DISABLE;
  hspi1.Init.NSSPolarity       = SPI_NSS_POLARITY_LOW;
  hspi1.Init.FifoThreshold     = SPI_FIFO_THRESHOLD_01DATA;
  hspi1.Init.TxCRCInitializationPattern = SPI_CRC_INITIALIZATION_ALL_ZERO_PATTERN;
  hspi1.Init.RxCRCInitializationPattern = SPI_CRC_INITIALIZATION_ALL_ZERO_PATTERN;
  hspi1.Init.MasterSSIdleness  = SPI_MASTER_SS_IDLENESS_00CYCLE;
  hspi1.Init.MasterInterDataIdleness = SPI_MASTER_INTERDATA_IDLENESS_00CYCLE;
  hspi1.Init.MasterReceiverAutoSusp  = SPI_MASTER_RX_AUTOSUSP_DISABLE;
  hspi1.Init.MasterKeepIOState = SPI_MASTER_KEEP_IO_STATE_DISABLE;
  hspi1.Init.IOSwap            = SPI_IO_SWAP_DISABLE;
  hspi1.Init.CRCLength         = SPI_CRC_LENGTH_8BIT;

  const uint8_t is_master = (par.spi.master.val >= 0.5);

  if (is_master) {
    hspi1.Init.Mode              = SPI_MODE_MASTER;
    hspi1.Init.NSS               = SPI_NSS_HARD_OUTPUT;
    hspi1.Init.BaudRatePrescaler = SPI_BAUDRATEPRESCALER_128;  // slow for testing
  } else {
    hspi1.Init.Mode              = SPI_MODE_SLAVE;
    hspi1.Init.NSS               = SPI_NSS_HARD_INPUT;
    hspi1.Init.BaudRatePrescaler = SPI_BAUDRATEPRESCALER_2;    // ignored in SLAVE
  }

  par.spi.on.val = spi_on_tmp;

  HAL_StatusTypeDef st = HAL_SPI_Init(&hspi1);
  if (st != HAL_OK) return st;

  // SLAVE: arm receive-transmit IT (more stable form H7)
  if (!is_master) {
    st = SPI1_SlaveArm_TRx_IT();
    if (st != HAL_OK) return st;
  }

  return HAL_OK;
}

/**
 * @brief  MASTER: send one double value via SPI1 (blocking) (8 bytes).
 */
HAL_StatusTypeDef SPI1_SendDouble(double value)
{
  uint8_t buf[8];
  memcpy(buf, &value, 8);
  return HAL_SPI_Transmit(&hspi1, buf, sizeof(buf), 100);
}

/* USER CODE END 4 */

/* MPU Configuration */

void MPU_Config(void)
{
  MPU_Region_InitTypeDef MPU_InitStruct = {0};

  /* Disables the MPU */
  HAL_MPU_Disable();
  /** Initializes and configures the Region and the memory to be protected
  */
  MPU_InitStruct.Enable = MPU_REGION_ENABLE;
  MPU_InitStruct.Number = MPU_REGION_NUMBER0;
  MPU_InitStruct.BaseAddress = 0x30040000;
  MPU_InitStruct.Size = MPU_REGION_SIZE_256B;
  MPU_InitStruct.SubRegionDisable = 0x0;
  MPU_InitStruct.TypeExtField = MPU_TEX_LEVEL0;
  MPU_InitStruct.AccessPermission = MPU_REGION_FULL_ACCESS;
  MPU_InitStruct.DisableExec = MPU_INSTRUCTION_ACCESS_ENABLE;
  MPU_InitStruct.IsShareable = MPU_ACCESS_NOT_SHAREABLE;
  MPU_InitStruct.IsCacheable = MPU_ACCESS_NOT_CACHEABLE;
  MPU_InitStruct.IsBufferable = MPU_ACCESS_BUFFERABLE;

  HAL_MPU_ConfigRegion(&MPU_InitStruct);
  /** Initializes and configures the Region and the memory to be protected
  */
  MPU_InitStruct.Number = MPU_REGION_NUMBER1;
  MPU_InitStruct.BaseAddress = 0x30044000;
  MPU_InitStruct.Size = MPU_REGION_SIZE_16KB;
  MPU_InitStruct.TypeExtField = MPU_TEX_LEVEL1;
  MPU_InitStruct.IsShareable = MPU_ACCESS_SHAREABLE;
  MPU_InitStruct.IsBufferable = MPU_ACCESS_NOT_BUFFERABLE;

  HAL_MPU_ConfigRegion(&MPU_InitStruct);
  /* Enables the MPU */
  HAL_MPU_Enable(MPU_PRIVILEGED_DEFAULT);

}

void HAL_TIM_PeriodElapsedCallback(TIM_HandleTypeDef *htim)
{
  if (htim->Instance == TIM6) {
    HAL_IncTick();
  }
  /* USER CODE BEGIN Callback 1 */
  if (htim->Instance == TIM7) {
	  HAL_GPIO_WritePin(LD1_GPIO_Port, LD1_Pin, SET);

    setParam(&par.fout, par.f.val);

    if (last_f != par.fout.val){
      send_freq(par.fout.val);
      last_f = par.fout.val;
	  }

	  if (last_cur != par.cur.val){
		  send_current(par.cur.val);
		  last_cur = par.cur.val;
	  }

    if (last_spi_master != par.spi.master.val){
      SPI1_ReconfigureFromPar();
      last_spi_master = par.spi.master.val;
    }

    if (par.spi.on.val > 0.5 && par.spi.master.val >= 0.5){
      SPI1_SendDouble(par.fout.val);
    }

	  if (par.ded.on.val == 1){
		  /* divide by 1e6 to convert to MHz,
		   * multiply by 1e3 to consider 1ms cycle */
		  par.f.val += par.ded.hzps.val*1e-9;
	  }

	  HAL_GPIO_WritePin(LD1_GPIO_Port, LD1_Pin, RESET);
    }
  /* USER CODE END Callback 1 */
}

void Error_Handler(void)
{
  __disable_irq();
  while (1)
  {
  }
}
